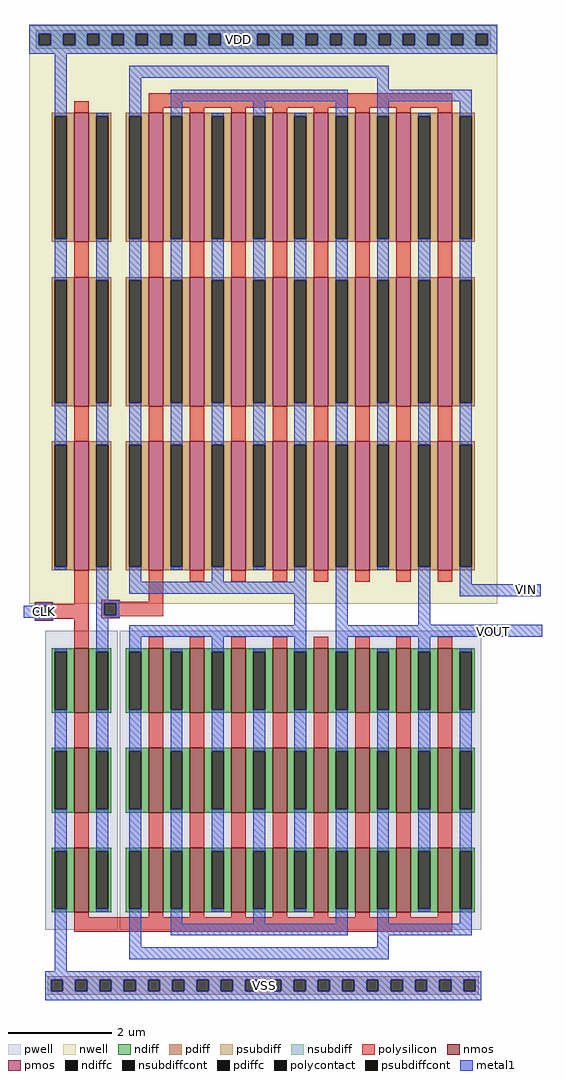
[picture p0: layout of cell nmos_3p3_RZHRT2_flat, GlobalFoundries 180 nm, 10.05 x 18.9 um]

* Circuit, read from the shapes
.subckt nmos_3p3_RZHRT2_flat VSS VDD CLK VIN VOUT
XM1 n1 CLK VSS VSS nfet_03v3 w=1.25u l=0.28u m=3
XM2 VOUT CLK VIN VSS nfet_03v3 w=1.25u l=0.28u m=24
XM3 n1 CLK VDD VDD pfet_03v3 w=2.5u l=0.28u m=3
XM4 VOUT n1 VIN VDD pfet_03v3 w=2.5u l=0.28u m=24
.ends

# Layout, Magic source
magic
tech gf180mcuC
magscale 1 10
<< nwell >>
rect -350 1262 1462 3508
<< pwell >>
rect -288 0 -8 1158
rect 0 0 1400 1158
<< nmos >>
rect -176 840 -120 1090
rect 112 840 168 1090
rect 272 840 328 1090
rect 432 840 488 1090
rect 592 840 648 1090
rect 752 840 808 1090
rect 912 840 968 1090
rect 1072 840 1128 1090
rect 1232 840 1288 1090
rect -176 454 -120 704
rect 112 454 168 704
rect 272 454 328 704
rect 432 454 488 704
rect 592 454 648 704
rect 752 454 808 704
rect 912 454 968 704
rect 1072 454 1128 704
rect 1232 454 1288 704
rect -176 68 -120 318
rect 112 68 168 318
rect 272 68 328 318
rect 432 68 488 318
rect 592 68 648 318
rect 752 68 808 318
rect 912 68 968 318
rect 1072 68 1128 318
rect 1232 68 1288 318
<< pmos >>
rect -176 2664 -120 3164
rect 112 2664 168 3164
rect 272 2664 328 3164
rect 432 2664 488 3164
rect 592 2664 648 3164
rect 752 2664 808 3164
rect 912 2664 968 3164
rect 1072 2664 1128 3164
rect 1232 2664 1288 3164
rect -176 2028 -120 2528
rect 112 2028 168 2528
rect 272 2028 328 2528
rect 432 2028 488 2528
rect 592 2028 648 2528
rect 752 2028 808 2528
rect 912 2028 968 2528
rect 1072 2028 1128 2528
rect 1232 2028 1288 2528
rect -176 1392 -120 1892
rect 112 1392 168 1892
rect 272 1392 328 1892
rect 432 1392 488 1892
rect 592 1392 648 1892
rect 752 1392 808 1892
rect 912 1392 968 1892
rect 1072 1392 1128 1892
rect 1232 1392 1288 1892
<< ndiff >>
rect -264 1077 -176 1090
rect -264 853 -251 1077
rect -205 853 -176 1077
rect -264 840 -176 853
rect -120 1077 -32 1090
rect -120 853 -91 1077
rect -45 853 -32 1077
rect -120 840 -32 853
rect 24 1077 112 1090
rect 24 853 37 1077
rect 83 853 112 1077
rect 24 840 112 853
rect 168 1077 272 1090
rect 168 853 197 1077
rect 243 853 272 1077
rect 168 840 272 853
rect 328 1077 432 1090
rect 328 853 357 1077
rect 403 853 432 1077
rect 328 840 432 853
rect 488 1077 592 1090
rect 488 853 517 1077
rect 563 853 592 1077
rect 488 840 592 853
rect 648 1077 752 1090
rect 648 853 677 1077
rect 723 853 752 1077
rect 648 840 752 853
rect 808 1077 912 1090
rect 808 853 837 1077
rect 883 853 912 1077
rect 808 840 912 853
rect 968 1077 1072 1090
rect 968 853 997 1077
rect 1043 853 1072 1077
rect 968 840 1072 853
rect 1128 1077 1232 1090
rect 1128 853 1157 1077
rect 1203 853 1232 1077
rect 1128 840 1232 853
rect 1288 1077 1376 1090
rect 1288 853 1317 1077
rect 1363 853 1376 1077
rect 1288 840 1376 853
rect -264 691 -176 704
rect -264 467 -251 691
rect -205 467 -176 691
rect -264 454 -176 467
rect -120 691 -32 704
rect -120 467 -91 691
rect -45 467 -32 691
rect -120 454 -32 467
rect 24 691 112 704
rect 24 467 37 691
rect 83 467 112 691
rect 24 454 112 467
rect 168 691 272 704
rect 168 467 197 691
rect 243 467 272 691
rect 168 454 272 467
rect 328 691 432 704
rect 328 467 357 691
rect 403 467 432 691
rect 328 454 432 467
rect 488 691 592 704
rect 488 467 517 691
rect 563 467 592 691
rect 488 454 592 467
rect 648 691 752 704
rect 648 467 677 691
rect 723 467 752 691
rect 648 454 752 467
rect 808 691 912 704
rect 808 467 837 691
rect 883 467 912 691
rect 808 454 912 467
rect 968 691 1072 704
rect 968 467 997 691
rect 1043 467 1072 691
rect 968 454 1072 467
rect 1128 691 1232 704
rect 1128 467 1157 691
rect 1203 467 1232 691
rect 1128 454 1232 467
rect 1288 691 1376 704
rect 1288 467 1317 691
rect 1363 467 1376 691
rect 1288 454 1376 467
rect -264 305 -176 318
rect -264 81 -251 305
rect -205 81 -176 305
rect -264 68 -176 81
rect -120 305 -32 318
rect -120 81 -91 305
rect -45 81 -32 305
rect -120 68 -32 81
rect 24 305 112 318
rect 24 81 37 305
rect 83 81 112 305
rect 24 68 112 81
rect 168 305 272 318
rect 168 81 197 305
rect 243 81 272 305
rect 168 68 272 81
rect 328 305 432 318
rect 328 81 357 305
rect 403 81 432 305
rect 328 68 432 81
rect 488 305 592 318
rect 488 81 517 305
rect 563 81 592 305
rect 488 68 592 81
rect 648 305 752 318
rect 648 81 677 305
rect 723 81 752 305
rect 648 68 752 81
rect 808 305 912 318
rect 808 81 837 305
rect 883 81 912 305
rect 808 68 912 81
rect 968 305 1072 318
rect 968 81 997 305
rect 1043 81 1072 305
rect 968 68 1072 81
rect 1128 305 1232 318
rect 1128 81 1157 305
rect 1203 81 1232 305
rect 1128 68 1232 81
rect 1288 305 1376 318
rect 1288 81 1317 305
rect 1363 81 1376 305
rect 1288 68 1376 81
<< pdiff >>
rect -264 3151 -176 3164
rect -264 2677 -251 3151
rect -205 2677 -176 3151
rect -264 2664 -176 2677
rect -120 3151 -32 3164
rect -120 2677 -91 3151
rect -45 2677 -32 3151
rect -120 2664 -32 2677
rect 24 3151 112 3164
rect 24 2677 37 3151
rect 83 2677 112 3151
rect 24 2664 112 2677
rect 168 3151 272 3164
rect 168 2677 197 3151
rect 243 2677 272 3151
rect 168 2664 272 2677
rect 328 3151 432 3164
rect 328 2677 357 3151
rect 403 2677 432 3151
rect 328 2664 432 2677
rect 488 3151 592 3164
rect 488 2677 517 3151
rect 563 2677 592 3151
rect 488 2664 592 2677
rect 648 3151 752 3164
rect 648 2677 677 3151
rect 723 2677 752 3151
rect 648 2664 752 2677
rect 808 3151 912 3164
rect 808 2677 837 3151
rect 883 2677 912 3151
rect 808 2664 912 2677
rect 968 3151 1072 3164
rect 968 2677 997 3151
rect 1043 2677 1072 3151
rect 968 2664 1072 2677
rect 1128 3151 1232 3164
rect 1128 2677 1157 3151
rect 1203 2677 1232 3151
rect 1128 2664 1232 2677
rect 1288 3151 1376 3164
rect 1288 2677 1317 3151
rect 1363 2677 1376 3151
rect 1288 2664 1376 2677
rect -264 2515 -176 2528
rect -264 2041 -251 2515
rect -205 2041 -176 2515
rect -264 2028 -176 2041
rect -120 2515 -32 2528
rect -120 2041 -91 2515
rect -45 2041 -32 2515
rect -120 2028 -32 2041
rect 24 2515 112 2528
rect 24 2041 37 2515
rect 83 2041 112 2515
rect 24 2028 112 2041
rect 168 2515 272 2528
rect 168 2041 197 2515
rect 243 2041 272 2515
rect 168 2028 272 2041
rect 328 2515 432 2528
rect 328 2041 357 2515
rect 403 2041 432 2515
rect 328 2028 432 2041
rect 488 2515 592 2528
rect 488 2041 517 2515
rect 563 2041 592 2515
rect 488 2028 592 2041
rect 648 2515 752 2528
rect 648 2041 677 2515
rect 723 2041 752 2515
rect 648 2028 752 2041
rect 808 2515 912 2528
rect 808 2041 837 2515
rect 883 2041 912 2515
rect 808 2028 912 2041
rect 968 2515 1072 2528
rect 968 2041 997 2515
rect 1043 2041 1072 2515
rect 968 2028 1072 2041
rect 1128 2515 1232 2528
rect 1128 2041 1157 2515
rect 1203 2041 1232 2515
rect 1128 2028 1232 2041
rect 1288 2515 1376 2528
rect 1288 2041 1317 2515
rect 1363 2041 1376 2515
rect 1288 2028 1376 2041
rect -264 1879 -176 1892
rect -264 1405 -251 1879
rect -205 1405 -176 1879
rect -264 1392 -176 1405
rect -120 1879 -32 1892
rect -120 1405 -91 1879
rect -45 1405 -32 1879
rect -120 1392 -32 1405
rect 24 1879 112 1892
rect 24 1405 37 1879
rect 83 1405 112 1879
rect 24 1392 112 1405
rect 168 1879 272 1892
rect 168 1405 197 1879
rect 243 1405 272 1879
rect 168 1392 272 1405
rect 328 1879 432 1892
rect 328 1405 357 1879
rect 403 1405 432 1879
rect 328 1392 432 1405
rect 488 1879 592 1892
rect 488 1405 517 1879
rect 563 1405 592 1879
rect 488 1392 592 1405
rect 648 1879 752 1892
rect 648 1405 677 1879
rect 723 1405 752 1879
rect 648 1392 752 1405
rect 808 1879 912 1892
rect 808 1405 837 1879
rect 883 1405 912 1879
rect 808 1392 912 1405
rect 968 1879 1072 1892
rect 968 1405 997 1879
rect 1043 1405 1072 1879
rect 968 1392 1072 1405
rect 1128 1879 1232 1892
rect 1128 1405 1157 1879
rect 1203 1405 1232 1879
rect 1128 1392 1232 1405
rect 1288 1879 1376 1892
rect 1288 1405 1317 1879
rect 1363 1405 1376 1879
rect 1288 1392 1376 1405
<< ndiffc >>
rect -251 853 -205 1077
rect -91 853 -45 1077
rect 37 853 83 1077
rect 197 853 243 1077
rect 357 853 403 1077
rect 517 853 563 1077
rect 677 853 723 1077
rect 837 853 883 1077
rect 997 853 1043 1077
rect 1157 853 1203 1077
rect 1317 853 1363 1077
rect -251 467 -205 691
rect -91 467 -45 691
rect 37 467 83 691
rect 197 467 243 691
rect 357 467 403 691
rect 517 467 563 691
rect 677 467 723 691
rect 837 467 883 691
rect 997 467 1043 691
rect 1157 467 1203 691
rect 1317 467 1363 691
rect -251 81 -205 305
rect -91 81 -45 305
rect 37 81 83 305
rect 197 81 243 305
rect 357 81 403 305
rect 517 81 563 305
rect 677 81 723 305
rect 837 81 883 305
rect 997 81 1043 305
rect 1157 81 1203 305
rect 1317 81 1363 305
<< pdiffc >>
rect -251 2677 -205 3151
rect -91 2677 -45 3151
rect 37 2677 83 3151
rect 197 2677 243 3151
rect 357 2677 403 3151
rect 517 2677 563 3151
rect 677 2677 723 3151
rect 837 2677 883 3151
rect 997 2677 1043 3151
rect 1157 2677 1203 3151
rect 1317 2677 1363 3151
rect -251 2041 -205 2515
rect -91 2041 -45 2515
rect 37 2041 83 2515
rect 197 2041 243 2515
rect 357 2041 403 2515
rect 517 2041 563 2515
rect 677 2041 723 2515
rect 837 2041 883 2515
rect 997 2041 1043 2515
rect 1157 2041 1203 2515
rect 1317 2041 1363 2515
rect -251 1405 -205 1879
rect -91 1405 -45 1879
rect 37 1405 83 1879
rect 197 1405 243 1879
rect 357 1405 403 1879
rect 517 1405 563 1879
rect 677 1405 723 1879
rect 837 1405 883 1879
rect 997 1405 1043 1879
rect 1157 1405 1203 1879
rect 1317 1405 1363 1879
<< psubdiff >>
rect -279 -193 1391 -180
rect -279 -239 -266 -193
rect -220 -239 -172 -193
rect -126 -239 -78 -193
rect -32 -239 16 -193
rect 62 -239 110 -193
rect 156 -239 204 -193
rect 250 -239 298 -193
rect 344 -239 392 -193
rect 438 -239 486 -193
rect 532 -239 580 -193
rect 626 -239 674 -193
rect 720 -239 768 -193
rect 814 -239 862 -193
rect 908 -239 956 -193
rect 1002 -239 1050 -193
rect 1096 -239 1144 -193
rect 1190 -239 1238 -193
rect 1284 -239 1332 -193
rect 1378 -239 1391 -193
rect -279 -252 1391 -239
<< nsubdiff >>
rect -326 3471 1438 3484
rect -326 3425 -313 3471
rect -267 3425 -219 3471
rect -173 3425 -125 3471
rect -79 3425 -31 3471
rect 15 3425 63 3471
rect 109 3425 157 3471
rect 203 3425 251 3471
rect 297 3425 345 3471
rect 391 3425 439 3471
rect 485 3425 533 3471
rect 579 3425 627 3471
rect 673 3425 721 3471
rect 767 3425 815 3471
rect 861 3425 909 3471
rect 955 3425 1003 3471
rect 1049 3425 1097 3471
rect 1143 3425 1191 3471
rect 1237 3425 1285 3471
rect 1331 3425 1379 3471
rect 1425 3425 1438 3471
rect -326 3412 1438 3425
<< psubdiffcont >>
rect -266 -239 -220 -193
rect -172 -239 -126 -193
rect -78 -239 -32 -193
rect 16 -239 62 -193
rect 110 -239 156 -193
rect 204 -239 250 -193
rect 298 -239 344 -193
rect 392 -239 438 -193
rect 486 -239 532 -193
rect 580 -239 626 -193
rect 674 -239 720 -193
rect 768 -239 814 -193
rect 862 -239 908 -193
rect 956 -239 1002 -193
rect 1050 -239 1096 -193
rect 1144 -239 1190 -193
rect 1238 -239 1284 -193
rect 1332 -239 1378 -193
<< nsubdiffcont >>
rect -313 3425 -267 3471
rect -219 3425 -173 3471
rect -125 3425 -79 3471
rect -31 3425 15 3471
rect 63 3425 109 3471
rect 157 3425 203 3471
rect 251 3425 297 3471
rect 345 3425 391 3471
rect 439 3425 485 3471
rect 533 3425 579 3471
rect 627 3425 673 3471
rect 721 3425 767 3471
rect 815 3425 861 3471
rect 909 3425 955 3471
rect 1003 3425 1049 3471
rect 1097 3425 1143 3471
rect 1191 3425 1237 3471
rect 1285 3425 1331 3471
rect 1379 3425 1425 3471
<< polysilicon >>
rect -176 3164 -120 3208
rect 112 3184 1288 3240
rect 112 3164 168 3184
rect 272 3164 328 3184
rect 432 3164 488 3184
rect 592 3164 648 3184
rect 752 3164 808 3184
rect 912 3164 968 3184
rect 1072 3164 1128 3184
rect 1232 3164 1288 3184
rect -176 2528 -120 2664
rect 112 2528 168 2664
rect 272 2528 328 2664
rect 432 2528 488 2664
rect 592 2528 648 2664
rect 752 2528 808 2664
rect 912 2528 968 2664
rect 1072 2528 1128 2664
rect 1232 2528 1288 2664
rect -176 1892 -120 2028
rect 112 1892 168 2028
rect 272 1892 328 2028
rect 432 1892 488 2028
rect 592 1892 648 2028
rect 752 1892 808 2028
rect 912 1892 968 2028
rect 1072 1892 1128 2028
rect 1232 1892 1288 2028
rect -329 1260 -257 1268
rect -176 1260 -120 1392
rect -329 1255 -120 1260
rect -329 1209 -316 1255
rect -270 1209 -120 1255
rect -329 1204 -120 1209
rect -72 1270 0 1278
rect 112 1270 168 1392
rect 272 1348 328 1392
rect 432 1348 488 1392
rect 592 1348 648 1392
rect 752 1348 808 1392
rect 912 1348 968 1392
rect 1072 1348 1128 1392
rect 1232 1348 1288 1392
rect -72 1265 168 1270
rect -72 1219 -59 1265
rect -13 1219 168 1265
rect -72 1214 168 1219
rect -72 1206 0 1214
rect -329 1196 -257 1204
rect -176 1090 -120 1204
rect 112 1090 168 1134
rect 272 1090 328 1134
rect 432 1090 488 1134
rect 592 1090 648 1134
rect 752 1090 808 1134
rect 912 1090 968 1134
rect 1072 1090 1128 1134
rect 1232 1090 1288 1134
rect -176 704 -120 840
rect 112 704 168 840
rect 272 704 328 840
rect 432 704 488 840
rect 592 704 648 840
rect 752 704 808 840
rect 912 704 968 840
rect 1072 704 1128 840
rect 1232 704 1288 840
rect -176 318 -120 454
rect 112 318 168 454
rect 272 318 328 454
rect 432 318 488 454
rect 592 318 648 454
rect 752 318 808 454
rect 912 318 968 454
rect 1072 318 1128 454
rect 1232 318 1288 454
rect -176 48 -120 68
rect 112 48 168 68
rect 272 48 328 68
rect 432 48 488 68
rect 592 48 648 68
rect 752 48 808 68
rect 912 48 968 68
rect 1072 48 1128 68
rect 1232 48 1288 68
rect -176 -8 1288 48
<< polycontact >>
rect -316 1209 -270 1255
rect -59 1219 -13 1265
<< metal1 >>
rect -350 3471 1462 3504
rect -350 3425 -313 3471
rect -267 3425 -219 3471
rect -173 3425 -125 3471
rect -79 3425 -31 3471
rect 15 3425 63 3471
rect 109 3425 157 3471
rect 203 3425 251 3471
rect 297 3425 345 3471
rect 391 3425 439 3471
rect 485 3425 533 3471
rect 579 3425 627 3471
rect 673 3425 721 3471
rect 767 3425 815 3471
rect 861 3425 909 3471
rect 955 3425 1003 3471
rect 1049 3425 1097 3471
rect 1143 3425 1191 3471
rect 1237 3425 1285 3471
rect 1331 3425 1379 3471
rect 1425 3425 1462 3471
rect -350 3392 1462 3425
rect -251 3151 -205 3392
rect 37 3300 1043 3346
rect -251 2515 -205 2677
rect -251 1879 -205 2041
rect -251 1394 -205 1405
rect -91 3151 -45 3162
rect -91 2515 -45 2677
rect -91 1879 -45 2041
rect -91 1276 -45 1405
rect 37 3151 83 3300
rect 997 3254 1043 3300
rect 37 2515 83 2677
rect 37 1879 83 2041
rect 37 1348 83 1405
rect 197 3208 883 3254
rect 197 3151 243 3208
rect 197 2515 243 2677
rect 197 1879 243 2041
rect 197 1394 243 1405
rect 357 3151 403 3162
rect 357 2515 403 2677
rect 357 1879 403 2041
rect 357 1348 403 1405
rect 517 3151 563 3208
rect 517 2515 563 2677
rect 517 1879 563 2041
rect 517 1394 563 1405
rect 677 3151 723 3162
rect 677 2515 723 2677
rect 677 1879 723 2041
rect 677 1348 723 1405
rect 37 1302 723 1348
rect -327 1255 -259 1266
rect -372 1209 -316 1255
rect -270 1209 -259 1255
rect -327 1198 -259 1209
rect -91 1265 -2 1276
rect -91 1219 -59 1265
rect -13 1219 -2 1265
rect -91 1208 -2 1219
rect -251 1077 -205 1088
rect -251 691 -205 853
rect -251 305 -205 467
rect -251 -160 -205 81
rect -91 1077 -45 1208
rect 677 1180 723 1302
rect -91 691 -45 853
rect -91 305 -45 467
rect -91 70 -45 81
rect 37 1134 723 1180
rect 37 1077 83 1134
rect 37 691 83 853
rect 37 305 83 467
rect 37 -68 83 81
rect 197 1077 243 1088
rect 197 691 243 853
rect 197 305 243 467
rect 197 24 243 81
rect 357 1077 403 1134
rect 357 691 403 853
rect 357 305 403 467
rect 357 70 403 81
rect 517 1077 563 1088
rect 517 691 563 853
rect 517 305 563 467
rect 517 24 563 81
rect 677 1077 723 1134
rect 677 691 723 853
rect 677 305 723 467
rect 677 70 723 81
rect 837 3151 883 3208
rect 837 2515 883 2677
rect 837 1879 883 2041
rect 837 1180 883 1405
rect 997 3208 1363 3254
rect 997 3151 1043 3208
rect 997 2515 1043 2677
rect 997 1879 1043 2041
rect 997 1394 1043 1405
rect 1157 3151 1203 3162
rect 1157 2515 1203 2677
rect 1157 1879 1203 2041
rect 1157 1181 1203 1405
rect 1317 3151 1363 3208
rect 1317 2515 1363 2677
rect 1317 1879 1363 2041
rect 1317 1338 1363 1405
rect 1317 1292 1631 1338
rect 1157 1180 1637 1181
rect 837 1135 1637 1180
rect 837 1134 1203 1135
rect 837 1077 883 1134
rect 837 691 883 853
rect 837 305 883 467
rect 837 24 883 81
rect 197 -22 883 24
rect 997 1077 1043 1088
rect 997 691 1043 853
rect 997 305 1043 467
rect 997 24 1043 81
rect 1157 1077 1203 1134
rect 1157 691 1203 853
rect 1157 305 1203 467
rect 1157 70 1203 81
rect 1317 1077 1363 1088
rect 1317 691 1363 853
rect 1317 305 1363 467
rect 1317 24 1363 81
rect 997 -22 1363 24
rect 997 -68 1043 -22
rect 37 -114 1043 -68
rect -288 -193 1400 -160
rect -288 -239 -266 -193
rect -220 -239 -172 -193
rect -126 -239 -78 -193
rect -32 -239 16 -193
rect 62 -239 110 -193
rect 156 -239 204 -193
rect 250 -239 298 -193
rect 344 -239 392 -193
rect 438 -239 486 -193
rect 532 -239 580 -193
rect 626 -239 674 -193
rect 720 -239 768 -193
rect 814 -239 862 -193
rect 908 -239 956 -193
rect 1002 -239 1050 -193
rect 1096 -239 1144 -193
rect 1190 -239 1238 -193
rect 1284 -239 1332 -193
rect 1378 -239 1400 -193
rect -288 -272 1400 -239
<< labels >>
flabel metal1 561 -216 561 -216 0 FreeSans 320 0 0 0 VSS
port 1 nsew
flabel nsubdiffcont 462 3448 462 3448 0 FreeSans 320 0 0 0 VDD
port 2 nsew
flabel polycontact -293 1232 -293 1232 0 FreeSans 320 0 0 0 CLK
port 3 nsew
flabel metal1 1575 1316 1575 1316 0 FreeSans 320 0 0 0 VIN
port 4 nsew
flabel metal1 1448 1156 1448 1156 0 FreeSans 320 0 0 0 VOUT
port 5 nsew
<< end >>
